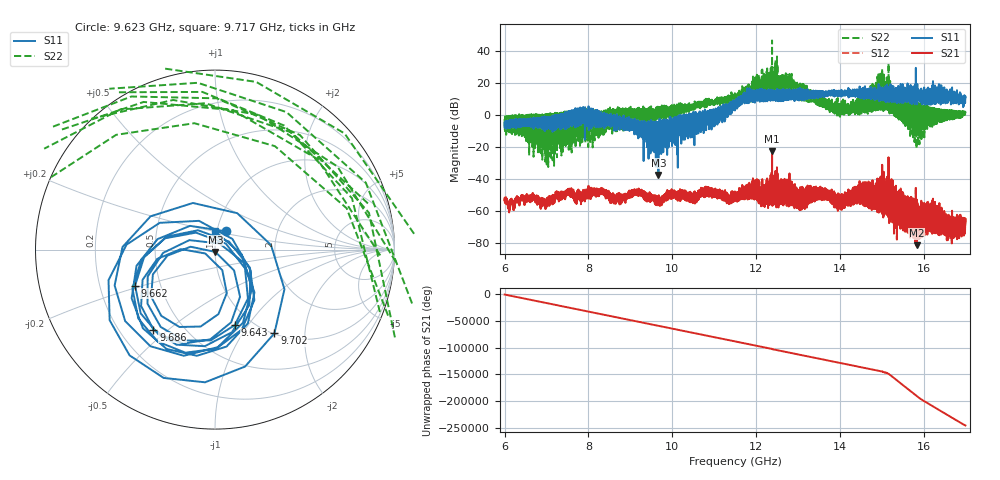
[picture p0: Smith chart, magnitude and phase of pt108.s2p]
#  HZ  S  RI  R  50.00
! Rohde & Schwarz Vector Network Analyzer
! Rohde-Schwarz,ZNA67-2Port,1332450062101215,3.01
! Created: UTC 10/19/2026, 2:37:11 PM
! freq[Hz]  re:S11  im:S11  re:S21  im:S21  re:S12  im:S12  re:S22  im:S22
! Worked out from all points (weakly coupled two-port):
!   11001 points, 6 GHz to 17 GHz, reference 50 ohm
!   highest |S21| = -22.50 dB at 12.38 GHz (marker M1); lowest = -81.5 dB at 15.83 GHz (marker M2)
!   lowest |S11| = -37.6 dB at 9.67 GHz (marker M3), VSWR 1.03, Z = 50.2 - j1.31 ohm
!   |S11| at or under -10 dB: 9.212609 GHz to 9.216176 GHz (3.567 MHz wide, 0.0387 % of centre); 9.608782 GHz to 9.613006 GHz (4.224 MHz wide, 0.0439 % of centre); 9.667816 GHz to 9.672508 GHz (4.692 MHz wide, 0.0485 % of centre) (the widest 3 of 120)
!   |S22| runs from -32.6 to 46.7 dB; largest |S21 - S12| = 0.0043
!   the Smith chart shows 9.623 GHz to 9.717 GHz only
!   S11 on the Smith chart (normalised r, x): 9.623 GHz: 1.10, +0.23; 9.643 GHz: 0.84, -0.87; 9.662 GHz: 0.36, -0.19; 9.686 GHz: 0.34, -0.45; 9.702 GHz: 1.01, -1.40; 9.717 GHz: 0.97, +0.21
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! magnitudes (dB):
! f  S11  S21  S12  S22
! 6 GHz  -5.1  -53.4  -53.3  -2.5
! 7.834 GHz  -4.8  -53.2  -53.0  -13.1
! 8.312 GHz  -5.7  -48.7  -48.4  -11.2
! 8.645 GHz  -2.5  -52.8  -52.7  3.2
! 9.223 GHz  -7.3  -48.8  -48.7  -3.0
! 9.623 GHz  -18.6  -53.5  -53.8  3.8
! 9.643 GHz  -7.2  -55.5  -55.9  -0.2
! 9.662 GHz  -6.2  -52.5  -52.8  2.8
! 9.667 GHz  -7.6  -54.8  -54.9  -1.5
! 9.67 GHz  -37.6  -52.1  -52.4  2.4
! 9.686 GHz  -5.0  -52.3  -52.4  1.3
! 9.702 GHz  -4.9  -56.7  -56.9  1.4
! 9.717 GHz  -19.6  -53.0  -52.9  4.2
! 10.82 GHz  -6.2  -49.7  -49.8  5.7
! 11.5 GHz  4.2  -52.2  -52.1  9.4
! 12.38 GHz  9.9  -22.5  -22.8  46.7
! 13.33 GHz  11.5  -51.8  -51.7  10.4
! 13.99 GHz  12.6  -53.9  -53.8  3.2
! 14.47 GHz  13.5  -53.4  -52.9  0.2
! 15.17 GHz  10.7  -59.8  -60.2  3.7
! 15.83 GHz  10.6  -81.5  -82.1  -21.0
! 17 GHz  11.1  -68.0  -68.2  1.4
